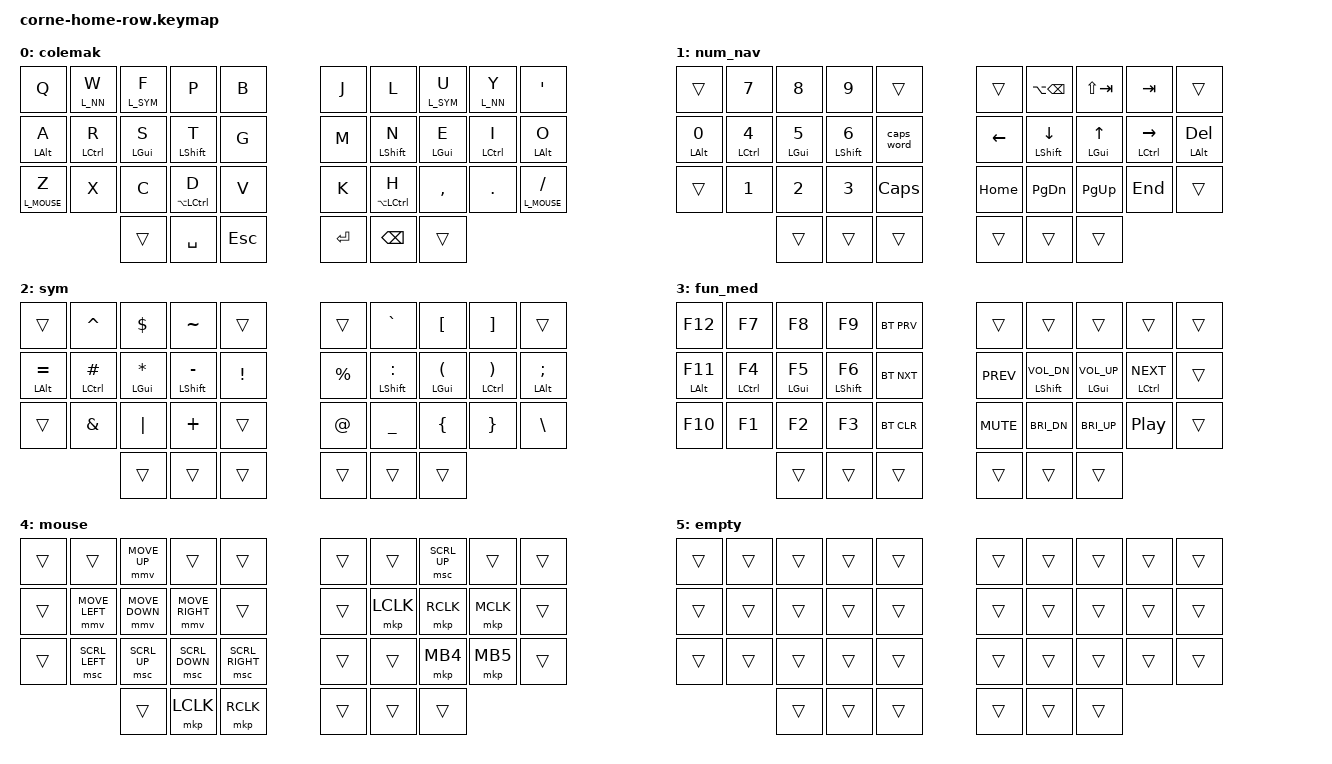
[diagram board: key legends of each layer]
#define ZMK_POINTING_DEFAULT_MOVE_VAL 1500 // 600
#define ZMK_POINTING_DEFAULT_SCRL_VAL 30 // 10

#define ___ &trans

#define L_NN 1
#define L_SYM 2
#define L_FUN 3
#define L_MOUSE 4

#define CK_COMBO_TIMEOUT 35
#define CK_PRIOR_IDLE 150
#define CK_TAPPING_TERM 200
#define CK_QUICK_TAP 200

#define CK_LEFT_HAND_KEYS 0 1 2 3 4 10 11 12 13 14 20 21 22 23 24 30 31 32
#define CK_RIGHT_HAND_KEYS 5 6 7 8 9 15 16 17 18 19 25 26 27 28 29 33 34 35

#include <behaviors.dtsi>
#include <dt-bindings/zmk/keys.h>
#include <dt-bindings/zmk/bt.h>

#include <dt-bindings/zmk/pointing.h>
#include <input/processors.dtsi>

/ {
    chosen {
        zmk,physical-layout = &foostan_corne_5col_layout;
    };

    combos {
        compatible = "zmk,combos";
        combo_ll_fun {
            timeout-ms = <CK_COMBO_TIMEOUT>;
            key-positions = <1 2>;
            bindings = <&mo L_FUN>;
            require-prior-idle-ms = <CK_PRIOR_IDLE>;
        };
        combo_rl_fun {
            timeout-ms = <CK_COMBO_TIMEOUT>;
            key-positions = <7 8>;
            bindings = <&mo L_FUN>;
            require-prior-idle-ms = <CK_PRIOR_IDLE>;
        };
    };

    behaviors {
        // tl: thumb_layer {
        //     compatible = "zmk,behavior-hold-tap";
        //     flavor = "balanced";
        //     bindings = <&mo>, <&kp>;
        //     #binding-cells = <2>;
        //     tapping-term-ms = <CK_TAPPING_TERM>;
        //     quick-tap-ms = <CK_QUICK_TAP>;
        // };
        //
        // tm: thumb_mod {
        //     compatible = "zmk,behavior-hold-tap";
        //     flavor = "balanced";
        //     bindings = <&kp>, <&kp>;
        //     #binding-cells = <2>;
        //     tapping-term-ms = <CK_TAPPING_TERM>;
        //     quick-tap-ms = <CK_QUICK_TAP>;
        // };

        lm: left_mod {
            compatible = "zmk,behavior-hold-tap";
            flavor = "balanced";
            bindings = <&kp>, <&kp>;
            #binding-cells = <2>;
            tapping-term-ms = <CK_TAPPING_TERM>;
            quick-tap-ms = <CK_QUICK_TAP>;
            require-prior-idle-ms = <CK_PRIOR_IDLE>;
            hold-trigger-key-positions = <CK_RIGHT_HAND_KEYS>;
            hold-trigger-on-release;
        };

        rm: right_mod {
            compatible = "zmk,behavior-hold-tap";
            flavor = "balanced";
            bindings = <&kp>, <&kp>;
            #binding-cells = <2>;
            tapping-term-ms = <CK_TAPPING_TERM>;
            quick-tap-ms = <CK_QUICK_TAP>;
            require-prior-idle-ms = <CK_PRIOR_IDLE>;
            hold-trigger-key-positions = <CK_LEFT_HAND_KEYS>;
            hold-trigger-on-release;
        };

        lm_fast: left_mod_fast {
            compatible = "zmk,behavior-hold-tap";
            flavor = "balanced";
            bindings = <&kp>, <&kp>;
            #binding-cells = <2>;
            tapping-term-ms = <CK_TAPPING_TERM>;
            hold-trigger-key-positions = <CK_RIGHT_HAND_KEYS>;
            hold-trigger-on-release;
        };

        rm_fast: right_mod_fast {
            compatible = "zmk,behavior-hold-tap";
            flavor = "balanced";
            bindings = <&kp>, <&kp>;
            #binding-cells = <2>;
            tapping-term-ms = <CK_TAPPING_TERM>;
            hold-trigger-key-positions = <CK_LEFT_HAND_KEYS>;
            hold-trigger-on-release;
        };

        ll: left_layer {
            compatible = "zmk,behavior-hold-tap";
            flavor = "balanced";
            bindings = <&mo>, <&kp>;
            #binding-cells = <2>;
            tapping-term-ms = <CK_TAPPING_TERM>;
            quick-tap-ms = <CK_QUICK_TAP>;
            require-prior-idle-ms = <CK_PRIOR_IDLE>;
            hold-trigger-key-positions = <CK_RIGHT_HAND_KEYS>;
            hold-trigger-on-release;
        };

        rl: right_layer {
            compatible = "zmk,behavior-hold-tap";
            flavor = "balanced";
            bindings = <&mo>, <&kp>;
            #binding-cells = <2>;
            tapping-term-ms = <CK_TAPPING_TERM>;
            quick-tap-ms = <CK_QUICK_TAP>;
            require-prior-idle-ms = <CK_PRIOR_IDLE>;
            hold-trigger-key-positions = <CK_LEFT_HAND_KEYS>;
            hold-trigger-on-release;
        };

        ll_fast: left_layer_fast {
            compatible = "zmk,behavior-hold-tap";
            flavor = "balanced";
            bindings = <&mo>, <&kp>;
            #binding-cells = <2>;
            tapping-term-ms = <CK_TAPPING_TERM>;
            hold-trigger-key-positions = <CK_RIGHT_HAND_KEYS>;
            hold-trigger-on-release;
        };

        rl_fast: right_layer_fast {
            compatible = "zmk,behavior-hold-tap";
            flavor = "balanced";
            bindings = <&mo>, <&kp>;
            #binding-cells = <2>;
            tapping-term-ms = <CK_TAPPING_TERM>;
            hold-trigger-key-positions = <CK_LEFT_HAND_KEYS>;
            hold-trigger-on-release;
        };
    };

    keymap {
        compatible = "zmk,keymap";

        colemak {
            bindings = <
&kp Q               &ll_fast L_NN W     &ll_fast L_SYM F    &kp P               &kp B               &kp J               &kp L               &rl_fast L_SYM U    &rl_fast L_NN Y     &kp SQT
&lm LALT A          &lm LCTRL R         &lm LGUI S          &lm_fast LSHIFT T   &kp G               &kp M               &rm_fast LSHIFT N   &rm LGUI E          &rm LCTRL I         &rm LALT O
&ll L_MOUSE Z       &kp X               &kp C               &lm LA(LCTRL) D     &kp V               &kp K               &rm LA(LCTRL) H     &kp COMMA           &kp DOT             &rl L_MOUSE FSLH
                                        ___                 &kp SPACE           &kp ESC             &kp RET             &kp BSPC            ___
            >;
        };

        num_nav {
            bindings = <
___                 &kp N7              &kp N8              &kp N9              ___                 ___                 &kp LA(BSPC)        &kp LS(TAB)         &kp TAB             ___
&lm LALT N0         &lm LCTRL N4        &lm LGUI N5         &lm LSHIFT N6       &caps_word          &kp LEFT            &rm LSHIFT DOWN     &rm LGUI UP         &rm LCTRL RIGHT     &rm LALT DEL
___                 &kp N1              &kp N2              &kp N3              &kp CAPS            &kp HOME            &kp PG_DN           &kp PG_UP           &kp END             ___
                                        ___                 ___                 ___                 ___                 ___                 ___
            >;
        };

        sym {
            bindings = <
___                 &kp CARET           &kp DLLR            &kp TILDE           ___                 ___                 &kp GRAVE           &kp LBKT            &kp RBKT            ___
&lm LALT EQUAL      &lm LCTRL HASH      &lm LGUI STAR       &lm LSHIFT MINUS    &kp EXCL            &kp PRCNT           &rm LSHIFT COLON    &rm LGUI LPAR       &rm LCTRL RPAR      &rm LALT SEMI
___                 &kp AMPS            &kp PIPE            &kp PLUS            ___                 &kp AT              &kp UNDER           &kp LBRC            &kp RBRC            &kp BSLH
                                        ___                 ___                 ___                 ___                 ___                 ___
            >;
        };

        fun_med {
            bindings = <
&kp F12             &kp F7              &kp F8              &kp F9              &bt BT_PRV          ___                 ___                 ___                 ___                 ___
&lm LALT F11        &lm LCTRL F4        &lm LGUI F5         &lm LSHIFT F6       &bt BT_NXT          &kp C_PREV          &rm LSHIFT C_VOL_DN &rm LGUI C_VOL_UP   &rm LCTRL C_NEXT    ___
&kp F10             &kp F1              &kp F2              &kp F3              &bt BT_CLR          &kp C_MUTE          &kp C_BRI_DN        &kp C_BRI_UP        &kp C_PP            ___
                                        ___                 ___                 ___                 ___                 ___                 ___
            >;
        };

        mouse {
            bindings = <
___                 ___                 &mmv MOVE_UP        ___                 ___                 ___                 ___                 &msc SCRL_UP        ___                 ___
___                 &mmv MOVE_LEFT      &mmv MOVE_DOWN      &mmv MOVE_RIGHT     ___                 ___                 &mkp LCLK           &mkp RCLK           &mkp MCLK           ___
___                 &msc SCRL_LEFT      &msc SCRL_UP        &msc SCRL_DOWN      &msc SCRL_RIGHT     ___                 ___                 &mkp MB4            &mkp MB5            ___
                                        ___                 &mkp LCLK           &mkp RCLK           ___                 ___                 ___
            >;
        };

        empty {
            bindings = <
___                 ___                 ___                 ___                 ___                 ___                 ___                 ___                 ___                 ___
___                 ___                 ___                 ___                 ___                 ___                 ___                 ___                 ___                 ___
___                 ___                 ___                 ___                 ___                 ___                 ___                 ___                 ___                 ___
                                        ___                 ___                 ___                 ___                 ___                 ___
            >;
        };
    };
};
